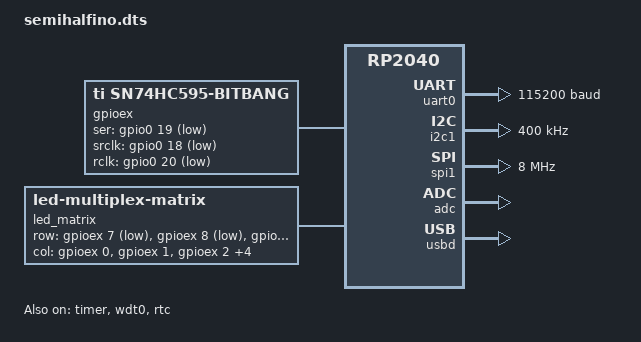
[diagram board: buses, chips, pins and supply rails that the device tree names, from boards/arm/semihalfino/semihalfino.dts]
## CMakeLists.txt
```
# SPDX-License-Identifier: MIT

cmake_minimum_required(VERSION 3.13.1)

list(APPEND BOARD_ROOT ${CMAKE_CURRENT_SOURCE_DIR})
set(BOARD semihalfino)
set(DTC_OVERLAY_FILE src/overlay.dts)

find_package(Zephyr REQUIRED HINTS $ENV{ZEPHYR_BASE})

project(app LANGUAGES C)

target_sources(app PRIVATE src/main.c)

add_subdirectory(drivers)
```

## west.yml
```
# SPDX-License-Identifier: MIT

manifest:
  remotes:
    - name: zephyrproject-rtos
      url-base: https://github.com/zephyrproject-rtos

  projects:
    - name: zephyr
      remote: zephyrproject-rtos
      revision: main
      import:
        # By using name-allowlist we can clone only the modules that are
        # strictly needed by the application.
        name-allowlist:
          - cmsis      # required by the ARM port
          - hal_rpi_pico
```

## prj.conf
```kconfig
# SPDX-License-Identifier: MIT

# Shell
CONFIG_KERNEL_SHELL=y
CONFIG_SHELL=y

CONFIG_GPIO_SN74HC595=y
```

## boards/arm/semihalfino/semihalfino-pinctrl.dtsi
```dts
/*
 * Copyright (c) 2021, Yonatan Schachter
 * SPDX-License-Identifier: Apache-2.0
 */

#include <zephyr/dt-bindings/pinctrl/rpi-pico-rp2040-pinctrl.h>

&pinctrl {
	uart0_default: uart0_default {
		group1 {
			pinmux = <UART0_TX_P0>;
		};
		group2 {
			pinmux = <UART0_RX_P1>;
			input-enable;
		};
	};

	i2c0_default: i2c0_default {
		group1 {
			pinmux = <I2C0_SDA_P4>, <I2C0_SCL_P5>;
			input-enable;
			input-schmitt-enable;
		};
	};

	i2c1_default: i2c1_default {
		group1 {
			pinmux = <I2C1_SDA_P14>, <I2C1_SCL_P15>;
			input-enable;
			input-schmitt-enable;
		};
	};

	spi1_default: spi1_default {
		group1 {
			pinmux = <SPI1_CSN_P13>, <SPI1_SCK_P10>, <SPI1_TX_P11>;
		};
		group2 {
			pinmux = <SPI1_RX_P12>;
			input-enable;
		};
	};

	pwm_ch4b_default: pwm_ch4b_default {
		group1 {
			pinmux = <PWM_4B_P25>;
		};
	};

	adc_default: adc_default {
		group1 {
			pinmux = <ADC_CH0_P26>, <ADC_CH1_P27>, <ADC_CH2_P28>, <ADC_CH3_P29>;
			input-enable;
		};
	};

	clocks_default: clocks_default {
	};
};
```

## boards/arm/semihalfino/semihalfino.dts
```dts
/dts-v1/;
#include <freq.h>

#include <rpi_pico/rp2040.dtsi>
#include "semihalfino-pinctrl.dtsi"
#include <zephyr/dt-bindings/pwm/pwm.h>

#include <zephyr/dt-bindings/i2c/i2c.h>

/ {
        chosen {
                zephyr,sram = &sram0;
                zephyr,flash = &flash0;
                zephyr,flash-controller = &ssi;
                zephyr,console = &uart0;
                zephyr,shell-uart = &uart0;
                zephyr,code-partition = &code_partition;
		zephyr,display = &led_matrix;
        };

        aliases {
                rtc = &rtc;
                watchdog0 = &wdt0;
        };

	gpioex: sn74hc595 {
		compatible = "ti,sn74hc595-bitbang";
		status = "okay";
		gpio-controller;
		ngpios = <14>;
		#gpio-cells = <2>;
		ser-gpios = <&gpio0 19 GPIO_ACTIVE_LOW>;
		srclk-gpios = <&gpio0 18 GPIO_ACTIVE_LOW>;
		rclk-gpios = <&gpio0 20 GPIO_ACTIVE_LOW>;
	};

	led_matrix: led_matrix {
		compatible = "led-multiplex-matrix";
		status = "okay";
		width = <7>;
		height = <7>;
		row-gpios = <&gpioex 7 GPIO_ACTIVE_LOW>,
			    <&gpioex 8 GPIO_ACTIVE_LOW>,
			    <&gpioex 9 GPIO_ACTIVE_LOW>,
			    <&gpioex 10 GPIO_ACTIVE_LOW>,
			    <&gpioex 11 GPIO_ACTIVE_LOW>,
			    <&gpioex 12 GPIO_ACTIVE_LOW>,
			    <&gpioex 13 GPIO_ACTIVE_LOW>;
		col-gpios = <&gpioex 0 GPIO_ACTIVE_HIGH>,
			    <&gpioex 1 GPIO_ACTIVE_HIGH>,
			    <&gpioex 2 GPIO_ACTIVE_HIGH>,
			    <&gpioex 3 GPIO_ACTIVE_HIGH>,
			    <&gpioex 4 GPIO_ACTIVE_HIGH>,
			    <&gpioex 5 GPIO_ACTIVE_HIGH>,
			    <&gpioex 6 GPIO_ACTIVE_HIGH>;
		refresh-frequency = <60>;
	};
};


&flash0 {
	reg = <0x10000000 DT_SIZE_M(8)>;

	partitions {
		compatible = "fixed-partitions";
		#address-cells = <1>;
		#size-cells = <1>;

		/* Reserved memory for the second stage bootloader */
		second_stage_bootloader: partition@0 {
			label = "second_stage_bootloader";
			reg = <0x00000000 0x100>;
			read-only;
		};

		/*
		 * Usable flash. Starts at 0x100, after the bootloader. The partition
		 * size is 8MB minus the 0x100 bytes taken by the bootloader.
		 */
		code_partition: partition@100 {
			label = "code-partition";
			reg = <0x100 (DT_SIZE_M(8) - 0x100)>;
			read-only;
		};
	};
};

&clocks {
	pinctrl-0 = <&clocks_default>;
	pinctrl-names = "default";
};

&uart0 {
	current-speed = <115200>;
	status = "okay";
	pinctrl-0 = <&uart0_default>;
	pinctrl-names = "default";
};

&gpio0 {
	status = "okay";
};

&i2c0 {
	clock-frequency = <I2C_BITRATE_STANDARD>;
	status = "disabled";
	pinctrl-0 = <&i2c0_default>;
	pinctrl-names = "default";
};

&i2c1 {
	clock-frequency = <I2C_BITRATE_FAST>;
	status = "okay";
	pinctrl-0 = <&i2c1_default>;
	pinctrl-names = "default";
};

&spi1 {
	clock-frequency = <DT_FREQ_M(8)>;
	status = "okay";
	pinctrl-0 = <&spi1_default>;
	pinctrl-names = "default";
};

&timer {
	status = "okay";
};

&wdt0 {
	status = "okay";
};

&rtc {
	clocks = <&clocks RPI_PICO_CLKID_CLK_RTC>;
	status = "okay";
};

&adc {
	status = "okay";
	pinctrl-0 = <&adc_default>;
	pinctrl-names = "default";
};

zephyr_udc0: &usbd {
	status = "okay";
};

&pwm {
	pinctrl-0 = <&pwm_ch4b_default>;
	pinctrl-names = "default";
	divider-int-0 = <255>;
};

&vreg {
	regulator-always-on;
	regulator-allowed-modes = <REGULATOR_RPI_PICO_MODE_NORMAL>;
};
```

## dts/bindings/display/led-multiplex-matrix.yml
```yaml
# Copyright (c) 2024 Jakub Czapiga
# SPDX-License-Identifier: Apache-2.0

description: |
  Generic LED multiplexed grid matrix (LED arranged in grid controlled by GPIOs)

compatible: "led-multiplex-matrix"

include: display-controller.yaml

properties:
  row-gpios:
    type: phandle-array
    required: true
    description: |
      Array of GPIOs to be used as rows of the matrix.

  col-gpios:
    type: phandle-array
    required: true
    description: |
      Array of GPIOs to be used as columns of the matrix.

  refresh-frequency:
    type: int
    required: true
    description: |
      Frequency of refreshing the matrix, in Hz.
```

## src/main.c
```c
void main() {
  while(1) {}
}
```
